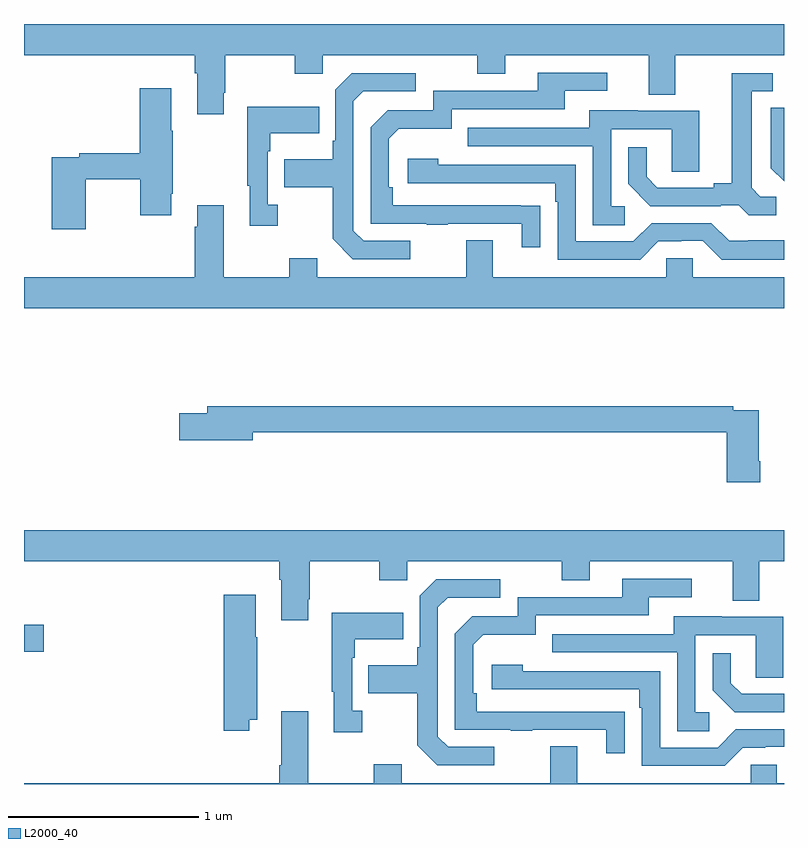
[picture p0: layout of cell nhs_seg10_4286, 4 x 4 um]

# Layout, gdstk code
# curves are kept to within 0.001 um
import gdstk
lib = gdstk.Library(unit=1e-6, precision=1e-09)
def R(c, l, rs):  # rectangles x0, y0, x1, y1
    for r in rs: c.add(gdstk.rectangle(r[:2], r[2:], *l))
def P(c, l, *ps):  # polygons
    for p in ps: c.add(gdstk.Polygon(p, *l))
L2000_40 = (2000, 40)

nhs_seg10_4286 = lib.new_cell('nhs_seg10_4286')
R(nhs_seg10_4286, L2000_40, [(351,1277.195,351.103,1277.337)])
P(nhs_seg10_4286, L2000_40, [(352.051,1280.137),(352.059,1280.137),(352.059,1280.336),(352.426,1280.336),(352.426,1280.237),(352.572,1280.237),(352.572,1280.336),(353.386,1280.336),(353.386,1280.237),(353.533,1280.237),(353.533,1280.336),(354.287,1280.336),(354.287,1280.128),(354.427,1280.128),(354.427,1280.336),(355,1280.336),(355,1280.5),(351,1280.5),(351,1280.336),(351.899,1280.336),(351.899,1280.24),(351.911,1280.24),(351.911,1280.025),(352.051,1280.025)],
  [(353.717,1279.544),(352.94,1279.545),(352.94,1279.642),(352.92,1279.642),(352.92,1279.896),(352.973,1279.949),(353.25,1279.949),(353.25,1280.052),(353.845,1280.052),(353.845,1280.148),(354.07,1280.148),(354.07,1280.244),(353.705,1280.244),(353.705,1280.148),(353.154,1280.148),(353.154,1280.046),(352.914,1280.046),(352.824,1279.956),(352.824,1279.449),(353.119,1279.449),(353.119,1279.444),(353.231,1279.444),(353.231,1279.449),(353.621,1279.449),(353.621,1279.326),(353.717,1279.326)],
  [(353.032,1279.359),(352.788,1279.359),(352.734,1279.413),(352.734,1280.094),(352.785,1280.145),(353.062,1280.145),(353.062,1280.241),(352.725,1280.241),(352.638,1280.154),(352.638,1279.885),(352.626,1279.885),(352.626,1279.789),(352.369,1279.789),(352.369,1279.642),(352.626,1279.642),(352.626,1279.369),(352.731,1279.263),(353.032,1279.263)],
  [(354.958,1279.59),(354.876,1279.59),(354.829,1279.637),(354.829,1280.145),(354.94,1280.145),(354.94,1280.241),(354.725,1280.241),(354.725,1279.661),(354.629,1279.661),(354.629,1279.638),(354.334,1279.638),(354.277,1279.695),(354.277,1279.852),(354.18,1279.852),(354.18,1279.658),(354.296,1279.542),(354.668,1279.542),(354.668,1279.545),(354.762,1279.545),(354.814,1279.493),(354.958,1279.493)],
  [(351.324,1279.684),(351.613,1279.684),(351.613,1279.494),(351.775,1279.494),(351.775,1279.606),(351.783,1279.606),(351.783,1279.937),(351.775,1279.937),(351.775,1280.161),(351.608,1280.161),(351.608,1279.82),(351.292,1279.82),(351.292,1279.8),(351.146,1279.8),(351.146,1279.419),(351.324,1279.419)],
  [(352.336,1279.55),(352.284,1279.55),(352.284,1279.829),(352.297,1279.829),(352.297,1279.925),(352.553,1279.925),(352.553,1280.065),(352.176,1280.065),(352.176,1279.649),(352.187,1279.649),(352.187,1279.437),(352.336,1279.437)],
  [(355,1280.06),(354.93,1280.06),(354.93,1279.742),(355,1279.672)],
  [(354.163,1279.542),(354.09,1279.542),(354.09,1279.947),(354.408,1279.947),(354.408,1279.723),(354.553,1279.723),(354.553,1280.043),(354.229,1280.043),(354.229,1280.047),(353.975,1280.047),(353.975,1279.953),(353.335,1279.953),(353.335,1279.857),(353.994,1279.857),(353.994,1279.441),(354.163,1279.441)],
  [(355,1279.363),(354.811,1279.363),(354.811,1279.359),(354.711,1279.359),(354.618,1279.452),(354.303,1279.452),(354.207,1279.356),(353.904,1279.356),(353.904,1279.758),(353.18,1279.758),(353.18,1279.792),(353.019,1279.792),(353.019,1279.662),(353.795,1279.662),(353.795,1279.565),(353.808,1279.565),(353.808,1279.26),(354.243,1279.26),(354.339,1279.356),(354.458,1279.356),(354.458,1279.359),(354.573,1279.359),(354.673,1279.259),(355,1279.259)],
  [(355,1279.168),(354.519,1279.168),(354.519,1279.266),(354.381,1279.266),(354.381,1279.168),(353.467,1279.168),(353.467,1279.363),(353.327,1279.363),(353.327,1279.168),(352.543,1279.168),(352.543,1279.267),(352.396,1279.267),(352.396,1279.168),(352.051,1279.168),(352.051,1279.546),(351.911,1279.546),(351.911,1279.433),(351.899,1279.433),(351.899,1279.168),(351,1279.168),(351,1279.004),(355,1279.004)],
  [(354.876,1278.199),(354.868,1278.199),(354.868,1278.468),(354.734,1278.468),(354.734,1278.488),(351.965,1278.488),(351.965,1278.452),(351.816,1278.452),(351.816,1278.31),(352.204,1278.31),(352.204,1278.352),(354.698,1278.352),(354.698,1278.087),(354.876,1278.087)],
  [(352.495,1277.473),(352.503,1277.473),(352.503,1277.672),(352.87,1277.672),(352.87,1277.573),(353.016,1277.573),(353.016,1277.672),(353.83,1277.672),(353.83,1277.573),(353.977,1277.573),(353.977,1277.672),(354.731,1277.672),(354.731,1277.464),(354.871,1277.464),(354.871,1277.672),(355,1277.672),(355,1277.836),(351,1277.836),(351,1277.672),(352.343,1277.672),(352.343,1277.576),(352.355,1277.576),(352.355,1277.361),(352.495,1277.361)],
  [(354.161,1276.88),(353.384,1276.881),(353.384,1276.978),(353.364,1276.978),(353.364,1277.232),(353.417,1277.285),(353.694,1277.285),(353.694,1277.388),(354.289,1277.388),(354.289,1277.484),(354.514,1277.484),(354.514,1277.58),(354.149,1277.58),(354.149,1277.484),(353.598,1277.484),(353.598,1277.382),(353.358,1277.382),(353.268,1277.292),(353.268,1276.785),(353.563,1276.785),(353.563,1276.78),(353.675,1276.78),(353.675,1276.785),(354.065,1276.785),(354.065,1276.662),(354.161,1276.662)],
  [(353.476,1276.695),(353.232,1276.695),(353.178,1276.749),(353.178,1277.43),(353.229,1277.481),(353.506,1277.481),(353.506,1277.577),(353.169,1277.577),(353.082,1277.49),(353.082,1277.221),(353.07,1277.221),(353.07,1277.125),(352.813,1277.125),(352.813,1276.978),(353.07,1276.978),(353.07,1276.705),(353.175,1276.599),(353.476,1276.599)],
  [(352.186,1276.838),(352.227,1276.838),(352.227,1277.273),(352.219,1277.273),(352.219,1277.497),(352.052,1277.497),(352.052,1276.779),(352.186,1276.779)],
  [(352.78,1276.886),(352.728,1276.886),(352.728,1277.165),(352.741,1277.165),(352.741,1277.261),(352.997,1277.261),(352.997,1277.401),(352.62,1277.401),(352.62,1276.985),(352.631,1276.985),(352.631,1276.773),(352.78,1276.773)],
  [(354.607,1276.878),(354.534,1276.878),(354.534,1277.283),(354.852,1277.283),(354.852,1277.059),(354.997,1277.059),(354.997,1277.379),(354.673,1277.379),(354.673,1277.383),(354.419,1277.383),(354.419,1277.289),(353.779,1277.289),(353.779,1277.193),(354.438,1277.193),(354.438,1276.777),(354.607,1276.777)],
  [(355,1276.974),(354.778,1276.974),(354.721,1277.031),(354.721,1277.188),(354.624,1277.188),(354.624,1276.994),(354.74,1276.878),(355,1276.878)],
  [(354.783,1276.692),(354.902,1276.692),(354.902,1276.695),(355,1276.695),(355,1276.788),(354.747,1276.788),(354.651,1276.692),(354.348,1276.692),(354.348,1277.094),(353.624,1277.094),(353.624,1277.128),(353.463,1277.128),(353.463,1276.998),(354.239,1276.998),(354.239,1276.901),(354.252,1276.901),(354.252,1276.596),(354.687,1276.596)],
  [(355,1276.504),(354.963,1276.504),(354.963,1276.602),(354.825,1276.602),(354.825,1276.504),(353.911,1276.504),(353.911,1276.699),(353.771,1276.699),(353.771,1276.504),(352.987,1276.504),(352.987,1276.603),(352.84,1276.603),(352.84,1276.504),(352.495,1276.504),(352.495,1276.882),(352.355,1276.882),(352.355,1276.6),(352.343,1276.6),(352.343,1276.504),(351,1276.504),(351,1276.5),(355,1276.5)])

lib.write_gds('nhs_seg10_4286.gds')
